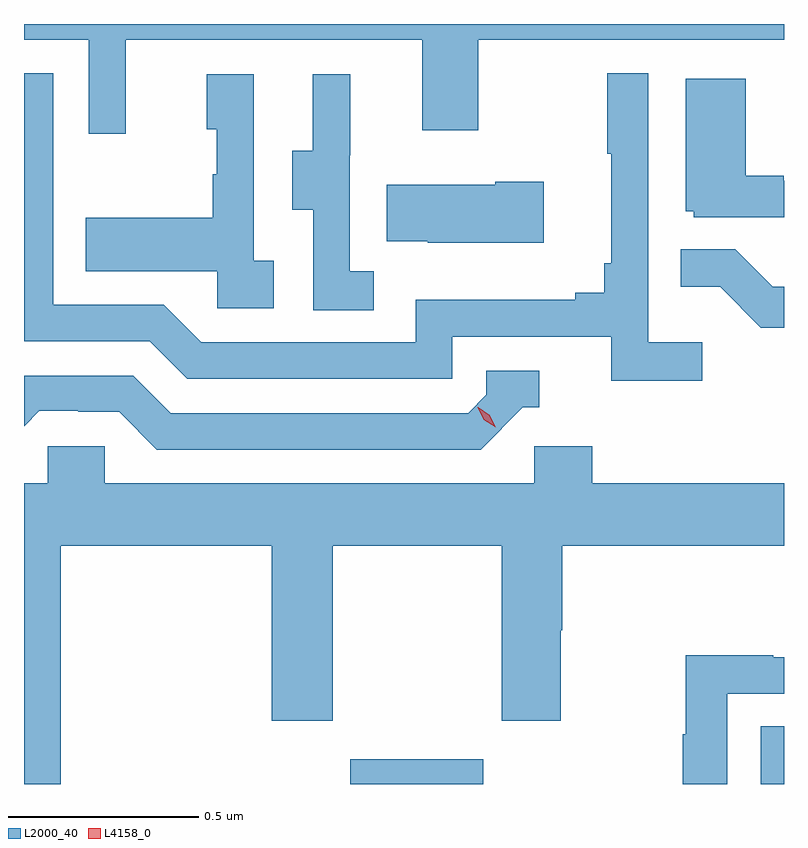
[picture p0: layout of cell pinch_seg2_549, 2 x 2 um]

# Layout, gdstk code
import gdstk
lib = gdstk.Library(unit=1e-6, precision=1e-09)
def R(c, l, rs):  # rectangles x0, y0, x1, y1
    for r in rs: c.add(gdstk.rectangle(r[:2], r[2:], *l))
def P(c, l, *ps):  # polygons
    for p in ps: c.add(gdstk.Polygon(p, *l))
L2000_40 = (2000, 40)
L4158_0 = (4158, 0)

pinch_seg2_549 = lib.new_cell('pinch_seg2_549')
R(pinch_seg2_549, L2000_40, [(1128.83,617.705,1129.18,617.77), (1129.91,617.705,1129.971,617.857)])
P(pinch_seg2_549, L2000_40, [(1128.239,619.664),(1129.019,619.664),(1129.019,619.425),(1129.167,619.425),(1129.167,619.664),(1129.971,619.664),(1129.971,619.705),(1127.971,619.705),(1127.971,619.664),(1128.141,619.664),(1128.141,619.416),(1128.239,619.416)],
  [(1129.756,618.868),(1129.614,618.868),(1129.614,619.576),(1129.506,619.576),(1129.506,619.363),(1129.517,619.363),(1129.517,619.075),(1129.498,619.075),(1129.498,618.998),(1129.421,618.998),(1129.421,618.979),(1129.002,618.979),(1129.002,618.867),(1128.438,618.867),(1128.339,618.966),(1128.048,618.966),(1128.048,619.575),(1127.971,619.575),(1127.971,618.87),(1128.302,618.87),(1128.401,618.771),(1129.098,618.771),(1129.098,618.882),(1129.517,618.882),(1129.517,618.766),(1129.756,618.766)],
  [(1128.892,619.055),(1128.828,619.055),(1128.828,619.359),(1128.83,619.359),(1128.83,619.573),(1128.731,619.573),(1128.731,619.371),(1128.677,619.371),(1128.677,619.216),(1128.732,619.216),(1128.732,618.952),(1128.892,618.952)],
  [(1128.628,619.082),(1128.576,619.082),(1128.576,619.573),(1128.452,619.573),(1128.452,619.428),(1128.478,619.428),(1128.478,619.31),(1128.468,619.31),(1128.468,619.195),(1128.133,619.195),(1128.133,619.055),(1128.48,619.055),(1128.48,618.957),(1128.628,618.957)],
  [(1129.971,619.293),(1129.97,619.293),(1129.97,619.306),(1129.87,619.306),(1129.87,619.561),(1129.712,619.561),(1129.712,619.212),(1129.734,619.212),(1129.734,619.197),(1129.971,619.197)],
  [(1129.339,619.29),(1129.211,619.29),(1129.211,619.282),(1128.925,619.282),(1128.925,619.133),(1129.033,619.133),(1129.033,619.13),(1129.339,619.13)],
  [(1129.971,619.014),(1129.941,619.014),(1129.843,619.112),(1129.699,619.112),(1129.699,619.013),(1129.803,619.013),(1129.91,618.906),(1129.971,618.906)],
  [(1129.284,618.696),(1129.327,618.696),(1129.327,618.792),(1129.188,618.792),(1129.188,618.729),(1129.14,618.681),(1128.357,618.681),(1128.258,618.78),(1127.971,618.78),(1127.971,618.647),(1128.011,618.687),(1128.114,618.687),(1128.114,618.684),(1128.221,618.684),(1128.32,618.585),(1129.173,618.585)],
  [(1128.068,618.332),(1128.623,618.332),(1128.623,617.871),(1128.783,617.871),(1128.783,618.332),(1129.228,618.332),(1129.228,617.871),(1129.383,617.871),(1129.383,618.11),(1129.388,618.11),(1129.388,618.332),(1129.971,618.332),(1129.971,618.496),(1129.466,618.496),(1129.466,618.594),(1129.314,618.594),(1129.314,618.496),(1128.183,618.496),(1128.183,618.594),(1128.033,618.594),(1128.033,618.496),(1127.971,618.496),(1127.971,617.705),(1128.068,617.705)],
  [(1129.821,617.943),(1129.971,617.943),(1129.971,618.039),(1129.943,618.039),(1129.943,618.044),(1129.713,618.044),(1129.713,617.836),(1129.705,617.836),(1129.705,617.705),(1129.821,617.705)])
P(pinch_seg2_549, L4158_0, [(1129.212,618.644),(1129.181,618.663),(1129.165,618.696),(1129.165,618.696),(1129.166,618.696),(1129.196,618.676),(1129.212,618.644),(1129.212,618.644)])

lib.write_gds('pinch_seg2_549.gds')
